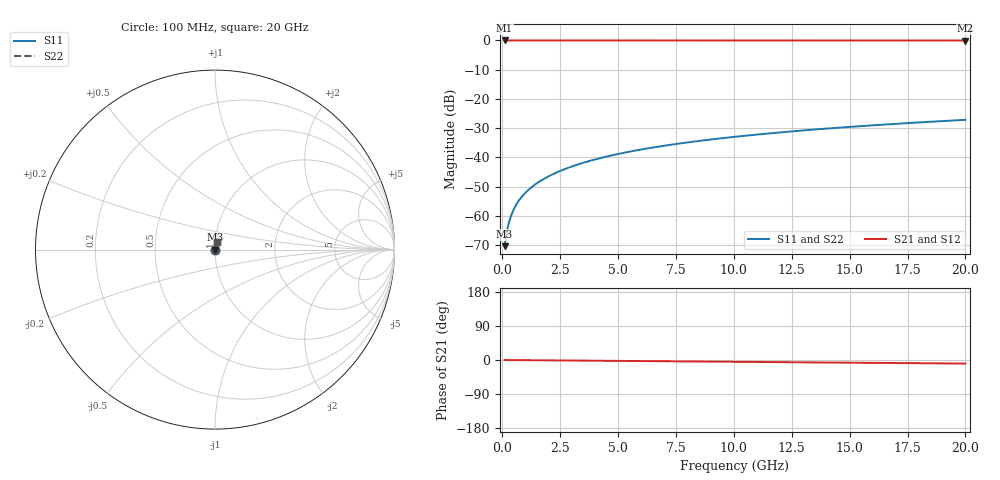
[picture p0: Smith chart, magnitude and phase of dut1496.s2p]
! Touchstone file exported from HFSS 2026.1.0
!  File:  C:/ffzhzh/LocalFiles/Ansys_Project_Files/temp_train_TSV_1496_1783198909_51560.aedt
!  Generated:  05:03:33 AM Jul  5, 2026
!  Design:  TSV
!  Project:  temp_train_TSV_1496_1783198909_51560
! Variables:
!  h_bsmrdl = 2um
!  h_ox = 20um
!  h_rdl = 5um
!  h_sub = 88.78um
!  h_tmrdl = 5um
!  h_tsv = 88.78um
!  h_via = 3um
!  l_bsmrdl = 300um
!  l_sub = 418.98um
!  l_tmrdl = 200um
!  m_sub = 200um
!  pitch = 53.76um
!  r_tsv = 9.49um
!  s_tmrdl = 10um
!  w_bsmrdl = 18um
!  w_sub = 500um
!  w_tmrdl = 12um
!  x_tsv_center1 = 206um
!  x_tsv_center2 = 524um
!  x_tsv_center3 = 736um
!  x_tsv_center4 = 1054um
!  x_tsv_center5 = 1266um
!  x_tsv_center6 = 1584um
# GHz S MA R 50.000000
! Terminal data exported
! Port[1] = TSV1_1_T1
! Port[2] = TSV1_1_T2
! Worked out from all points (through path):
!   200 points, 100 MHz to 20 GHz, reference 50 ohm
!   highest |S21| = 0.00 dB at 100 MHz (marker M1); lowest = 0.0 dB at 20 GHz (marker M2)
!   group delay of S21, straight-line fit = 1.31 ps
!   lowest |S11| = -70.4 dB at 100 MHz (marker M3), VSWR 1.00, Z = 50 + j0.0265 ohm
!   |S11| at or under -10 dB: start of sweep to end of sweep
!   |S22| runs from -70.4 to -27.2 dB; largest |S21 - S12| = 4.3e-15
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0.1  0.0003027 61.0  0.9999 -0.0  0.9999 -0.0  0.0003027 61.0
! Gamma 0 0 0 0
! Port Impedance 50 0 50 0
0.2  0.0005505 73.3  0.9998 -0.1  0.9998 -0.1  0.0005505 73.3
0.3  0.000805 77.3  0.9998 -0.1  0.9998 -0.1  0.000805 77.3
0.4  0.001057 79.1  0.9998 -0.2  0.9998 -0.2  0.001057 79.1
0.5  0.001305 80.1  0.9998 -0.2  0.9998 -0.2  0.001305 80.1
0.6  0.001548 80.7  0.9998 -0.3  0.9998 -0.3  0.001548 80.7
0.7  0.001787 81.1  0.9997 -0.3  0.9997 -0.3  0.001787 81.1
0.8  0.002022 81.4  0.9997 -0.4  0.9997 -0.4  0.002022 81.4
1  0.002484 81.9  0.9997 -0.5  0.9997 -0.5  0.002484 81.9
1.4  0.003392 82.7  0.9996 -0.7  0.9996 -0.7  0.003392 82.7
1.7  0.004067 83.1  0.9996 -0.8  0.9996 -0.8  0.004067 83.1
2  0.00474 83.5  0.9995 -1.0  0.9995 -1.0  0.00474 83.5
2.7  0.00631 84.0  0.9995 -1.3  0.9995 -1.3  0.00631 84.0
3.5  0.0081 84.2  0.9994 -1.7  0.9994 -1.7  0.0081 84.2
4.2  0.009659 84.2  0.9993 -2.0  0.9993 -2.0  0.009659 84.2
5  0.01143 84.1  0.9992 -2.4  0.9992 -2.4  0.01143 84.1
6.8  0.0154 83.7  0.9991 -3.2  0.9991 -3.2  0.0154 83.7
8.3  0.01868 83.3  0.9989 -3.9  0.9989 -3.9  0.01868 83.3
10.1  0.02261 82.7  0.9987 -4.8  0.9987 -4.8  0.02261 82.7
13.4  0.02976 81.5  0.9984 -6.3  0.9984 -6.3  0.02976 81.5
16.7  0.03685 80.1  0.998 -7.9  0.998 -7.9  0.03685 80.1
20  0.04388 78.7  0.9976 -9.4  0.9976 -9.4  0.04388 78.7
